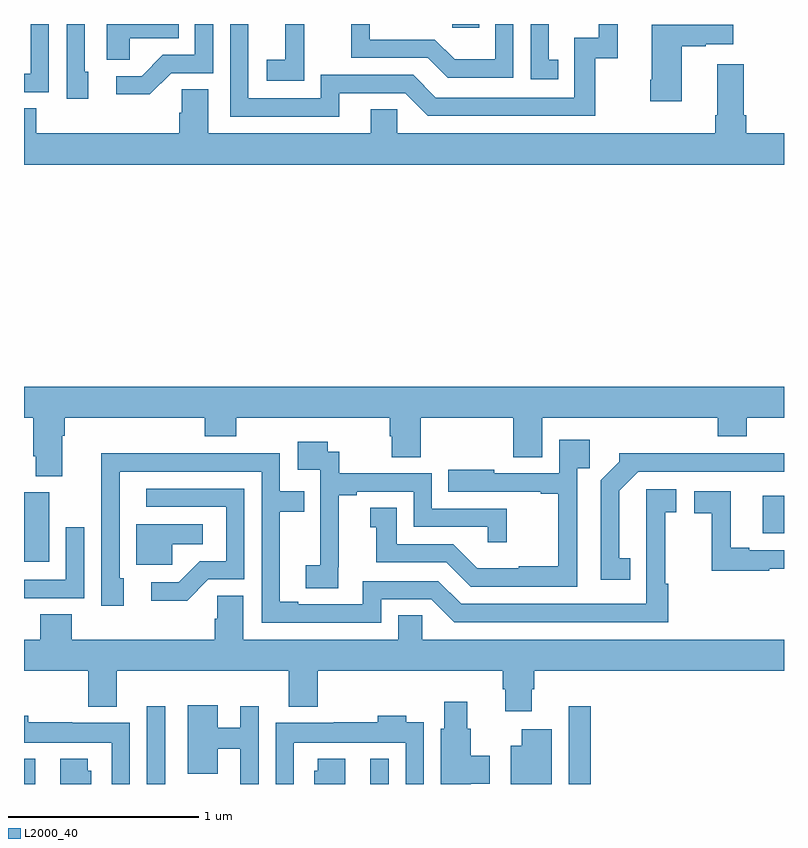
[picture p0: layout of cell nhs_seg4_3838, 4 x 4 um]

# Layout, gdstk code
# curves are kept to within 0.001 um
import gdstk
lib = gdstk.Library(unit=1e-6, precision=1e-09)
def R(c, l, rs):  # rectangles x0, y0, x1, y1
    for r in rs: c.add(gdstk.rectangle(r[:2], r[2:], *l))
def P(c, l, *ps):  # polygons
    for p in ps: c.add(gdstk.Polygon(p, *l))
L2000_40 = (2000, 40)

nhs_seg4_3838 = lib.new_cell('nhs_seg4_3838')
R(nhs_seg4_3838, L2000_40, [(313,786.9,313.06,787.033), (313.647,786.9,313.743,787.309), (314.822,786.9,314.919,787.033), (315.867,786.9,315.983,787.309), (313,788.069,313.132,788.436), (316.889,788.219,317,788.416), (315.255,790.881,315.395,790.9)])
P(nhs_seg4_3838, L2000_40, [(314.475,790.807),(314.474,790.807),(314.474,790.9),(314.375,790.9),(314.375,790.711),(314.277,790.711),(314.277,790.601),(314.475,790.601)],
  [(315.812,790.713),(315.763,790.713),(315.763,790.9),(315.666,790.9),(315.666,790.608),(315.812,790.608)],
  [(313.557,790.826),(313.814,790.826),(313.814,790.9),(313.436,790.9),(313.436,790.711),(313.557,790.711)],
  [(313.776,790.641),(313.995,790.641),(313.995,790.9),(313.899,790.9),(313.899,790.737),(313.73,790.737),(313.619,790.626),(313.485,790.626),(313.485,790.529),(313.663,790.529)],
  [(313.131,790.9),(313.035,790.9),(313.035,790.638),(313,790.638),(313,790.542),(313.131,790.542)],
  [(314.659,790.536),(315.006,790.536),(315.126,790.416),(316.006,790.416),(316.006,790.719),(316.124,790.719),(316.124,790.9),(316.026,790.9),(316.026,790.827),(315.897,790.827),(315.897,790.512),(315.168,790.512),(315.048,790.632),(314.562,790.632),(314.562,790.509),(314.181,790.509),(314.181,790.9),(314.085,790.9),(314.085,790.413),(314.659,790.413)],
  [(313.339,790.65),(313.32,790.65),(313.32,790.9),(313.224,790.9),(313.224,790.506),(313.339,790.506)],
  [(315.576,790.9),(315.48,790.9),(315.48,790.714),(315.266,790.714),(315.162,790.818),(314.82,790.818),(314.82,790.9),(314.722,790.9),(314.722,790.722),(315.125,790.722),(315.23,790.617),(315.576,790.617)],
  [(316.462,790.783),(316.589,790.783),(316.589,790.793),(316.732,790.793),(316.732,790.897),(316.304,790.897),(316.304,790.606),(316.297,790.606),(316.297,790.494),(316.462,790.494)],
  [(317,790.324),(316.802,790.324),(316.802,790.42),(316.789,790.42),(316.789,790.687),(316.649,790.687),(316.649,790.42),(316.637,790.42),(316.637,790.324),(314.964,790.324),(314.964,790.451),(314.825,790.451),(314.825,790.324),(313.969,790.324),(313.969,790.556),(313.83,790.556),(313.83,790.433),(313.817,790.433),(313.817,790.324),(313.064,790.324),(313.064,790.457),(313,790.457),(313,790.16),(317,790.16)],
  [(313.201,788.732),(313.214,788.732),(313.214,788.828),(313.952,788.828),(313.952,788.729),(314.117,788.729),(314.117,788.828),(314.924,788.828),(314.924,788.73),(314.936,788.73),(314.936,788.62),(315.089,788.62),(315.089,788.828),(315.575,788.828),(315.575,788.62),(315.727,788.62),(315.727,788.828),(316.652,788.828),(316.652,788.729),(316.804,788.729),(316.804,788.828),(317,788.828),(317,788.992),(313,788.992),(313,788.828),(313.049,788.828),(313.049,788.626),(313.061,788.626),(313.061,788.521),(313.201,788.521)],
  [(315.912,788.561),(315.977,788.561),(315.977,788.713),(315.816,788.713),(315.816,788.535),(315.475,788.535),(315.475,788.554),(315.232,788.554),(315.232,788.439),(315.719,788.439),(315.719,788.427),(315.811,788.427),(315.811,788.047),(315.605,788.047),(315.605,788.035),(315.386,788.035),(315.258,788.163),(314.962,788.163),(314.962,788.354),(314.822,788.354),(314.822,788.251),(314.855,788.251),(314.855,788.067),(315.222,788.067),(315.351,787.938),(315.912,787.938)],
  [(314.654,788.041),(314.656,788.041),(314.656,788.419),(314.752,788.419),(314.752,788.439),(315.051,788.439),(315.051,788.253),(315.441,788.253),(315.441,788.172),(315.542,788.172),(315.542,788.349),(315.147,788.349),(315.147,788.535),(314.66,788.535),(314.66,788.649),(314.598,788.649),(314.598,788.701),(314.442,788.701),(314.442,788.553),(314.559,788.553),(314.559,788.249),(314.558,788.249),(314.558,788.052),(314.484,788.052),(314.484,787.93),(314.654,787.93)],
  [(314.88,787.872),(315.144,787.872),(315.264,787.752),(316.391,787.752),(316.391,787.955),(316.374,787.955),(316.374,788.331),(316.432,788.331),(316.432,788.452),(316.274,788.452),(316.275,787.848),(315.3,787.848),(315.18,787.968),(314.784,787.968),(314.784,787.845),(314.443,787.845),(314.443,787.86),(314.347,787.86),(314.347,788.334),(314.474,788.334),(314.474,788.442),(314.346,788.442),(314.346,788.64),(313.868,788.64),(313.868,788.642),(313.406,788.642),(313.407,787.839),(313.525,787.839),(313.525,787.983),(313.503,787.983),(313.503,788.544),(314.25,788.544),(314.25,787.749),(314.88,787.749)],
  [(316.19,788.087),(316.132,788.087),(316.132,788.443),(316.233,788.544),(317,788.544),(317,788.64),(316.568,788.64),(316.568,788.642),(316.134,788.642),(316.134,788.597),(316.035,788.498),(316.035,787.974),(316.19,787.974)],
  [(313.971,787.977),(314.16,787.977),(314.16,788.454),(313.644,788.454),(313.644,788.358),(314.064,788.358),(314.064,788.073),(313.926,788.073),(313.815,787.962),(313.671,787.962),(313.671,787.865),(313.858,787.865)],
  [(316.922,788.034),(317,788.034),(317,788.13),(316.816,788.13),(316.816,788.143),(316.72,788.143),(316.72,788.442),(316.527,788.442),(316.527,788.326),(316.621,788.326),(316.621,788.022),(316.922,788.022)],
  [(313.779,788.162),(313.942,788.162),(313.942,788.266),(313.592,788.266),(313.592,788.055),(313.779,788.055)],
  [(313.317,788.251),(313.221,788.251),(313.221,787.974),(313,787.974),(313,787.878),(313.317,787.878)],
  [(315.673,787.398),(315.686,787.398),(315.686,787.496),(317,787.496),(317,787.66),(315.096,787.66),(315.096,787.787),(314.969,787.787),(314.969,787.66),(314.155,787.66),(314.155,787.892),(314.016,787.892),(314.016,787.769),(314.003,787.769),(314.003,787.66),(313.25,787.66),(313.25,787.793),(313.085,787.793),(313.085,787.66),(313,787.66),(313,787.496),(313.337,787.496),(313.337,787.307),(313.489,787.307),(313.489,787.496),(314.393,787.496),(314.393,787.307),(314.546,787.307),(314.546,787.496),(315.521,787.496),(315.521,787.398),(315.533,787.398),(315.533,787.284),(315.673,787.284)],
  [(315.352,786.902),(315.451,786.902),(315.451,787.05),(315.352,787.05),(315.352,787.191),(315.334,787.191),(315.334,787.333),(315.212,787.333),(315.212,787.191),(315.194,787.191),(315.194,786.9),(315.352,786.9)],
  [(314.235,787.309),(314.139,787.309),(314.139,787.195),(314.02,787.195),(314.02,787.315),(313.862,787.315),(313.862,786.954),(314.02,786.954),(314.02,787.085),(314.139,787.085),(314.139,786.9),(314.235,786.9)],
  [(313.557,787.222),(313.253,787.222),(313.253,787.225),(313.022,787.225),(313.022,787.258),(313,787.258),(313,787.118),(313.461,787.118),(313.461,786.9),(313.557,786.9)],
  [(314.421,787.118),(315.009,787.118),(315.009,786.9),(315.105,786.9),(315.105,787.225),(315.013,787.225),(315.013,787.258),(314.861,787.258),(314.861,787.225),(314.629,787.225),(314.629,787.222),(314.325,787.222),(314.325,786.9),(314.421,786.9)],
  [(315.778,787.189),(315.62,787.189),(315.62,787.102),(315.563,787.102),(315.563,786.9),(315.778,786.9)],
  [(314.692,787.033),(314.546,787.033),(314.546,786.969),(314.528,786.969),(314.528,786.9),(314.692,786.9)],
  [(313.354,786.969),(313.336,786.969),(313.336,787.033),(313.19,787.033),(313.19,786.9),(313.354,786.9)])

lib.write_gds('nhs_seg4_3838.gds')
